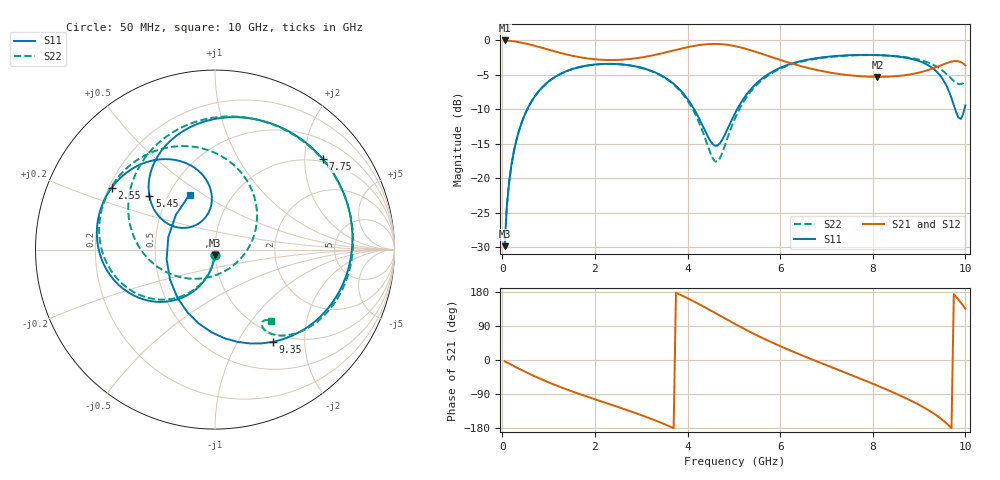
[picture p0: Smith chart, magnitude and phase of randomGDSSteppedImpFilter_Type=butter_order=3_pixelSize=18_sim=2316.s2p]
! freq	dB(S11)	phase(S11)	dB(S12)	phase(S12)
!  dB(S21)	phase(S21)	dB(S22)	phase(S22)
!S-par simulation data
#  GHz  S  DB  R 50
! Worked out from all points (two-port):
!   200 points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, 50 MHz to 10 GHz, reference 50 ohm
!   highest |S21| = -0.01 dB at 50 MHz (marker M1); lowest = -5.3 dB at 8.1 GHz (marker M2)
!   |S21| within 3 dB of the highest: start of sweep to 6.082 GHz; 9.773086 GHz to 9.81399 GHz (40.9 MHz wide, 0.418 % of centre)
!   lowest |S11| = -29.9 dB at 50 MHz (marker M3), VSWR 1.07, Z = 49.7 - j3.19 ohm
!   |S11| at or under -10 dB: start of sweep to 539.6 MHz; 4.144 GHz to 5.072 GHz (927.9 MHz wide, 20.1 % of centre); 9.78 GHz to 9.978 GHz (198 MHz wide, 2 % of centre)
!   |S22| runs from -29.9 to -2.1 dB; largest |S21 - S12| = 0
!   S11 on the Smith chart (normalised r, x): 50 MHz: 0.99, -0.06; 2.55 GHz: 0.21, +0.26; 5.45 GHz: 0.40, +0.31; 7.75 GHz: 0.93, +2.44; 9.35 GHz: 0.87, -1.42; 10 GHz: 0.63, +0.44
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0.05  -29.87 -93.3  -0.01 -3.3  -0.01 -3.3  -29.87 -93.5
0.1  -23.89 -96.6  -0.03 -6.5  -0.03 -6.5  -23.89 -97.0
0.2  -17.98 -103.1  -0.09 -12.9  -0.09 -12.9  -17.98 -103.7
0.5  -10.56 -121.2  -0.45 -31.4  -0.45 -31.4  -10.57 -122.7
1.05  -5.71 -150.3  -1.44 -61.5  -1.44 -61.5  -5.71 -153.7
1.75  -3.75 179.4  -2.52 -93.2  -2.52 -93.2  -3.75 173.1
2.55  -3.47 149.1  -2.81 -126.1  -2.81 -126.1  -3.48 138.0
3.4  -4.96 116.9  -1.95 -164.1  -1.95 -164.1  -5.01 95.4
4.05  -8.98 95.0  -0.92 159.9  -0.92 159.9  -9.26 48.6
4.6  -15.30 120.5  -0.51 124.0  -0.51 124.0  -17.59 -51.3
5.05  -10.26 151.2  -0.87 93.5  -0.87 93.5  -10.95 -151.4
5.45  -6.49 140.6  -1.61 68.1  -1.61 68.1  -6.76 170.8
6  -3.98 117.3  -2.83 36.7  -2.83 36.7  -4.12 133.3
6.7  -2.67 86.7  -4.16 1.0  -4.16 1.0  -2.74 93.9
7.75  -2.10 40.0  -5.21 -50.0  -5.21 -50.0  -2.14 39.9
8.1  -2.13 23.3  -5.29 -67.6  -5.29 -67.6  -2.14 21.9
8.35  -2.22 10.6  -5.26 -80.6  -5.26 -80.6  -2.21 8.9
8.9  -2.80 -21.3  -4.82 -111.9  -4.82 -111.9  -2.65 -20.5
9.35  -4.35 -58.1  -3.94 -143.9  -3.94 -143.9  -3.68 -44.9
9.65  -7.47 -102.0  -3.17 -173.5  -3.17 -173.5  -5.25 -57.5
9.85  -11.22 -168.8  -3.03 159.5  -3.03 159.5  -6.34 -56.8
10  -9.44 114.9  -3.63 135.3  -3.63 135.3  -5.89 -51.9
